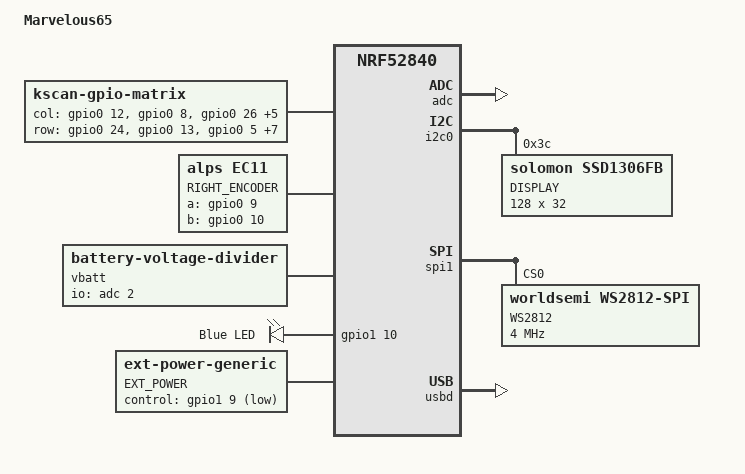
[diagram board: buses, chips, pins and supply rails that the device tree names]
/*
 * Copyright (c) 2024 Ujang Karnadi
 *
 * SPDX-License-Identifier: MIT
 */


/dts-v1/;
#include <nordic/nrf52840_qiaa.dtsi>

#include <dt-bindings/zmk/matrix_transform.h>
#include <dt-bindings/led/led.h>

#include "marvelous65-pinctrl.dtsi"
#include "marvelous65-ansi-layout.dtsi"
#include "marvelous65-ansi-transform.dtsi"
#include "marvelous65-iso-layout.dtsi"
#include "marvelous65-iso-transform.dtsi"

&ansi_layout_0 { transform = <&ansi_transform_0>; };
&ansi_layout_1 { transform = <&ansi_transform_1>; };
&ansi_layout_2 { transform = <&ansi_transform_2>; };
&ansi_layout_3 { transform = <&ansi_transform_3>; };
&ansi_layout_4 { transform = <&ansi_transform_4>; };
&ansi_layout_5 { transform = <&ansi_transform_5>; };
&ansi_layout_6 { transform = <&ansi_transform_6>; };
&ansi_layout_7 { transform = <&ansi_transform_7>; };

&iso_layout_0 { transform = <&iso_transform_0>; };
&iso_layout_1 { transform = <&iso_transform_1>; };
&iso_layout_2 { transform = <&iso_transform_2>; };
&iso_layout_3 { transform = <&iso_transform_3>; };
&iso_layout_4 { transform = <&iso_transform_4>; };
&iso_layout_5 { transform = <&iso_transform_5>; };
&iso_layout_6 { transform = <&iso_transform_6>; };
&iso_layout_7 { transform = <&iso_transform_7>; };

/ {
    model = "Marvelous65";
    compatible = "karnadi,marvelous65";
    revision = "rev2";

    chosen {
        zephyr,code-partition = &code_partition;
        zephyr,sram = &sram0;
        zephyr,flash = &flash0;
        zmk,battery = &vbatt;
        zmk,kscan = &kscan0;
        zmk,physical-layout = &ansi_layout_0;
        zmk,underglow = &led_strip;
        zephyr,display = &oled;
    };

    kscan0: kscan_0 {
        compatible = "zmk,kscan-gpio-matrix";
        label = "KSCAN";
        diode-direction = "col2row";
        wakeup-source;

        col-gpios
            = <&gpio0 12 GPIO_ACTIVE_HIGH>
            , <&gpio0 8 GPIO_ACTIVE_HIGH>
            , <&gpio0 26 GPIO_ACTIVE_HIGH>
            , <&gpio0 6 GPIO_ACTIVE_HIGH>
            , <&gpio0 30 GPIO_ACTIVE_HIGH>
            , <&gpio0 2 GPIO_ACTIVE_HIGH>
            , <&gpio1 13 GPIO_ACTIVE_HIGH>
            , <&gpio0 28 GPIO_ACTIVE_HIGH>
            ;

        row-gpios
            = <&gpio0 24 (GPIO_ACTIVE_HIGH | GPIO_PULL_DOWN)>
            , <&gpio0 13 (GPIO_ACTIVE_HIGH | GPIO_PULL_DOWN)>
            , <&gpio0 5 (GPIO_ACTIVE_HIGH | GPIO_PULL_DOWN)>
            , <&gpio1 4 (GPIO_ACTIVE_HIGH | GPIO_PULL_DOWN)>
            , <&gpio0 22 (GPIO_ACTIVE_HIGH | GPIO_PULL_DOWN)>
            , <&gpio0 7 (GPIO_ACTIVE_HIGH | GPIO_PULL_DOWN)>
            , <&gpio0 31 (GPIO_ACTIVE_HIGH | GPIO_PULL_DOWN)>
            , <&gpio0 29 (GPIO_ACTIVE_HIGH | GPIO_PULL_DOWN)>
            , <&gpio0 3 (GPIO_ACTIVE_HIGH | GPIO_PULL_DOWN)>
            , <&gpio1 11 (GPIO_ACTIVE_HIGH | GPIO_PULL_DOWN)>
            ;
    };

    right_encoder: encoder_right {
        compatible = "alps,ec11";
        label = "RIGHT_ENCODER";
        a-gpios = <&gpio0 9 (GPIO_ACTIVE_HIGH | GPIO_PULL_UP)>;
        b-gpios = <&gpio0 10 (GPIO_ACTIVE_HIGH | GPIO_PULL_UP)>;
        steps = <80>;
        status = "okay";
    };

    sensors {
        compatible = "zmk,keymap-sensors";
        sensors = <&right_encoder>;
        triggers-per-rotation = <20>;
    };

    vbatt: vbatt {
        compatible = "zmk,battery-voltage-divider";
        io-channels = <&adc 2>;
        output-ohms = <2000000>;
        full-ohms = <(2000000 + 820000)>;
    };

    leds {
        compatible = "gpio-leds";

        blue_led: led_0 {
            gpios = <&gpio1 10 GPIO_ACTIVE_HIGH>;
            label = "Blue LED";
        };
    };

    // Node name must match original "EXT_POWER" label to preserve user settings.
    EXT_POWER {
        compatible = "zmk,ext-power-generic";
        control-gpios = <&gpio1 9 GPIO_ACTIVE_LOW>;
        init-delay-ms = <50>;
    };
};

&adc {
    status = "okay";
};

&gpiote {
    status = "okay";
};

&gpio0 {
    status = "okay";
};

&gpio1 {
    status = "okay";
};

&i2c0 {
    compatible = "nordic,nrf-twi";
    pinctrl-0 = <&i2c0_default>;
    pinctrl-1 = <&i2c0_sleep>;
    pinctrl-names = "default", "sleep";
    status = "okay";

    oled: ssd1306@3c {
        compatible = "solomon,ssd1306fb";
        reg = <0x3c>;
        label = "DISPLAY";
        width = <128>;
        height = <32>;
        segment-offset = <0>;
        page-offset = <0>;
        display-offset = <0>;
        multiplex-ratio = <31>;
        segment-remap;
        com-invdir;
        com-sequential;
        prechargep = <0x22>;
    };
};

&spi1 {
    compatible = "nordic,nrf-spim";
    pinctrl-0 = <&spi1_default>;
    pinctrl-1 = <&spi1_sleep>;
    pinctrl-names = "default", "sleep";
    status = "okay";

    led_strip: ws2812@0 {
        compatible = "worldsemi,ws2812-spi";
        label = "WS2812";

        /* SPI */
        reg = <0>; /* ignored, but necessary for SPI bindings */
        spi-max-frequency = <4000000>;

        /* WS2812 */
        chain-length = <14>; /* number of LEDs */
        spi-one-frame = <0x70>;
        spi-zero-frame = <0x40>;
        color-mapping = <LED_COLOR_ID_GREEN
                        LED_COLOR_ID_RED
                        LED_COLOR_ID_BLUE>;
    };
};

zephyr_udc0: &usbd {
    status = "okay";
};

&flash0 {
    /*
     * For more information, see:
     * http://docs.zephyrproject.org/latest/devices/dts/flash_partitions.html
     */
    partitions {
        compatible = "fixed-partitions";
        #address-cells = <1>;
        #size-cells = <1>;

        sd_partition: partition@0 {
            label = "mbr";
            reg = <0x00000000 0x00001000>;
        };

        code_partition: partition@1000 {
            label = "code_partition";
            reg = <0x00001000 0x000d3000>;
        };

        storage_partition: partition@d4000 {
            label = "storage";
            reg = <0x000d4000 0x00020000>;
        };

        boot_partition: partition@f4000 {
            label = "adafruit_boot";
            reg = <0x000f4000 0x0000c000>;
        };
    };
};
